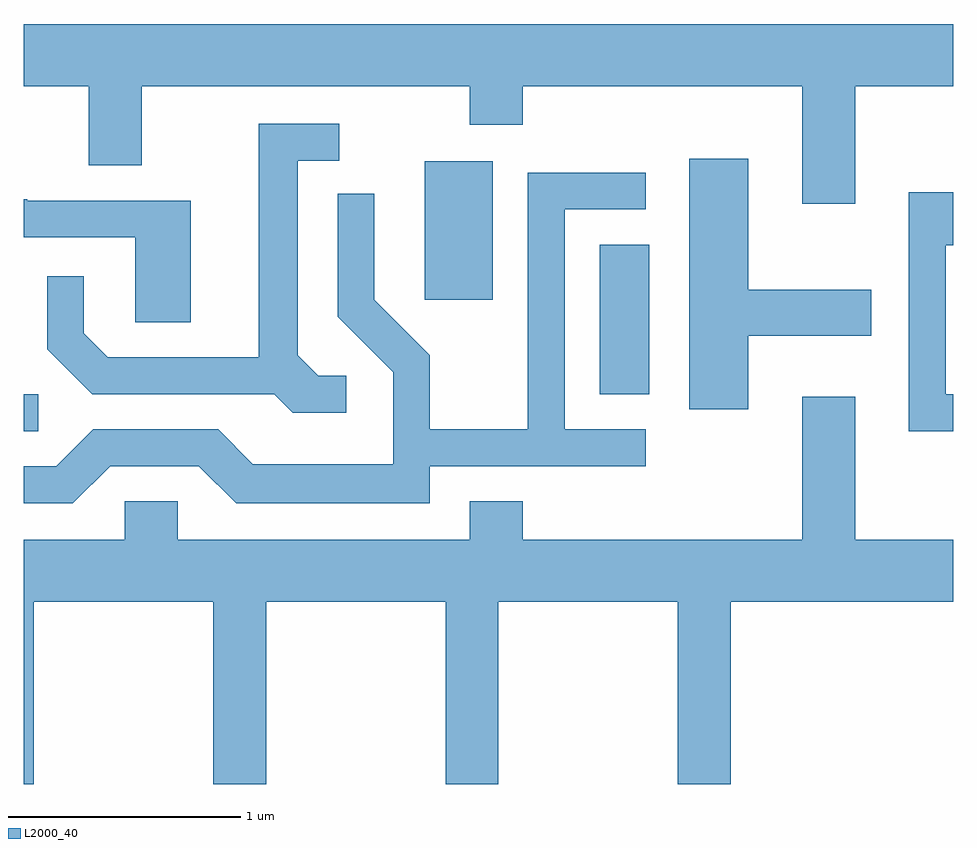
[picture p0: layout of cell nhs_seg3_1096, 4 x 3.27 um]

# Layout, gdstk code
import gdstk
lib = gdstk.Library(unit=1e-6, precision=1e-09)
def R(c, l, rs):  # rectangles x0, y0, x1, y1
    for r in rs: c.add(gdstk.rectangle(r[:2], r[2:], *l))
def P(c, l, *ps):  # polygons
    for p in ps: c.add(gdstk.Polygon(p, *l))
L2000_40 = (2000, 40)

nhs_seg3_1096 = lib.new_cell('nhs_seg3_1096')
R(nhs_seg3_1096, L2000_40, [(217.611,1133.411,217.673,1133.569), (220.091,1133.571,220.304,1134.214), (219.336,1133.976,219.629,1134.574)])
P(nhs_seg3_1096, L2000_40, [(221.189,1134.896),(221.611,1134.896),(221.611,1135.164),(217.611,1135.164),(217.611,1134.896),(217.891,1134.896),(217.891,1134.556),(218.119,1134.556),(218.119,1134.896),(219.531,1134.896),(219.531,1134.731),(219.759,1134.731),(219.759,1134.896),(220.961,1134.896),(220.961,1134.391),(221.189,1134.391)],
  [(218.998,1133.649),(218.877,1133.649),(218.789,1133.737),(218.789,1134.576),(218.968,1134.576),(218.968,1134.734),(218.621,1134.734),(218.621,1133.729),(217.972,1133.729),(217.869,1133.832),(217.869,1134.078),(217.711,1134.078),(217.711,1133.764),(217.904,1133.571),(218.689,1133.571),(218.769,1133.491),(218.998,1133.491)],
  [(220.729,1133.821),(221.259,1133.821),(221.259,1134.019),(220.729,1134.019),(220.729,1134.584),(220.476,1134.584),(220.476,1133.506),(220.729,1133.506)],
  [(217.982,1133.261),(218.364,1133.261),(218.524,1133.101),(219.359,1133.101),(219.359,1133.261),(220.288,1133.261),(220.288,1133.419),(219.939,1133.419),(219.939,1134.366),(220.288,1134.366),(220.288,1134.524),(219.781,1134.524),(219.781,1133.419),(219.359,1133.419),(219.359,1133.737),(219.119,1133.977),(219.119,1134.433),(218.961,1134.433),(218.961,1133.904),(219.201,1133.664),(219.201,1133.269),(218.597,1133.269),(218.447,1133.419),(217.909,1133.419),(217.749,1133.259),(217.611,1133.259),(217.611,1133.101),(217.822,1133.101)],
  [(221.611,1133.569),(221.579,1133.569),(221.579,1134.211),(221.611,1134.211),(221.611,1134.439),(221.421,1134.439),(221.421,1133.411),(221.611,1133.411)],
  [(218.329,1134.404),(217.625,1134.404),(217.625,1134.409),(217.611,1134.409),(217.611,1134.246),(218.091,1134.246),(218.091,1133.881),(218.329,1133.881)],
  [(217.654,1132.676),(218.426,1132.676),(218.426,1131.892),(218.654,1131.892),(218.654,1132.676),(219.426,1132.676),(219.426,1131.892),(219.654,1131.892),(219.654,1132.676),(220.426,1132.676),(220.426,1131.892),(220.654,1131.892),(220.654,1132.676),(221.611,1132.676),(221.611,1132.944),(221.189,1132.944),(221.189,1133.559),(220.961,1133.559),(220.961,1132.944),(219.759,1132.944),(219.759,1133.109),(219.531,1133.109),(219.531,1132.944),(218.274,1132.944),(218.274,1133.109),(218.046,1133.109),(218.046,1132.944),(217.611,1132.944),(217.611,1131.892),(217.654,1131.892)])

lib.write_gds('nhs_seg3_1096.gds')
